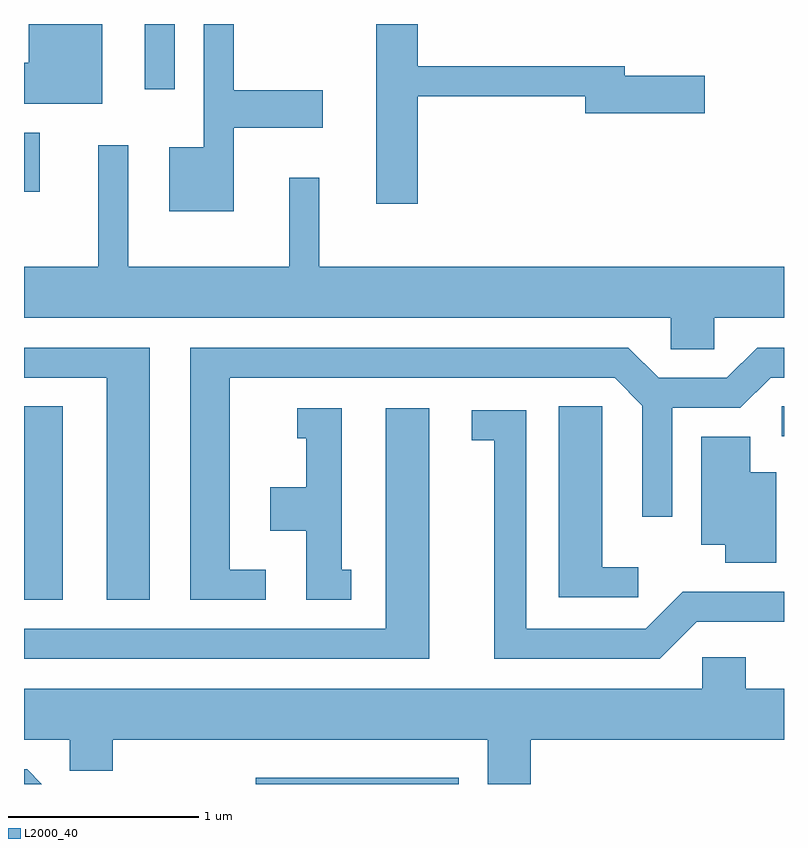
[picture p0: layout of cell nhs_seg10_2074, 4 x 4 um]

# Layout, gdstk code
import gdstk
lib = gdstk.Library(unit=1e-6, precision=1e-09)
def R(c, l, rs):  # rectangles x0, y0, x1, y1
    for r in rs: c.add(gdstk.rectangle(r[:2], r[2:], *l))
def P(c, l, *ps):  # polygons
    for p in ps: c.add(gdstk.Polygon(p, *l))
L2000_40 = (2000, 40)

nhs_seg10_2074 = lib.new_cell('nhs_seg10_2074')
R(nhs_seg10_2074, L2000_40, [(246.831,2162.522,247.899,2162.554), (245.611,2163.491,245.814,2164.509), (249.598,2164.351,249.611,2164.509), (245.611,2165.638,245.694,2165.949), (246.246,2166.178,246.404,2166.522)])
P(nhs_seg10_2074, L2000_40, [(246.714,2165.976),(247.184,2165.976),(247.184,2166.174),(246.714,2166.174),(246.714,2166.522),(246.556,2166.522),(246.556,2165.874),(246.376,2165.874),(246.376,2165.536),(246.714,2165.536)],
  [(246.024,2166.522),(245.636,2166.522),(245.636,2166.319),(245.611,2166.319),(245.611,2166.101),(246.024,2166.101)],
  [(247.684,2166.141),(248.566,2166.141),(248.566,2166.051),(249.194,2166.051),(249.194,2166.249),(248.774,2166.249),(248.774,2166.299),(247.684,2166.299),(247.684,2166.522),(247.466,2166.522),(247.466,2165.576),(247.684,2165.576)],
  [(249.244,2164.976),(249.611,2164.976),(249.611,2165.244),(247.164,2165.244),(247.164,2165.713),(247.006,2165.713),(247.006,2165.244),(246.159,2165.244),(246.159,2165.883),(246.001,2165.883),(246.001,2165.244),(245.611,2165.244),(245.611,2164.976),(249.016,2164.976),(249.016,2164.811),(249.244,2164.811)],
  [(246.883,2163.649),(246.694,2163.649),(246.694,2164.661),(248.719,2164.661),(248.866,2164.514),(248.866,2163.928),(249.024,2163.928),(249.024,2164.501),(249.382,2164.501),(249.542,2164.661),(249.611,2164.661),(249.611,2164.819),(249.469,2164.819),(249.309,2164.659),(248.952,2164.659),(248.792,2164.819),(246.486,2164.819),(246.486,2163.491),(246.883,2163.491)],
  [(246.274,2164.819),(245.611,2164.819),(245.611,2164.661),(246.046,2164.661),(246.046,2163.491),(246.274,2163.491)],
  [(248.843,2163.664),(248.654,2163.664),(248.654,2164.509),(248.426,2164.509),(248.426,2163.506),(248.843,2163.506)],
  [(247.744,2164.499),(247.516,2164.499),(247.516,2163.339),(245.611,2163.339),(245.611,2163.181),(247.744,2163.181)],
  [(247.333,2163.649),(247.284,2163.649),(247.284,2164.499),(247.048,2164.499),(247.048,2164.341),(247.096,2164.341),(247.096,2164.084),(246.906,2164.084),(246.906,2163.856),(247.096,2163.856),(247.096,2163.491),(247.333,2163.491)],
  [(249.152,2163.376),(249.611,2163.376),(249.611,2163.534),(249.079,2163.534),(248.884,2163.339),(248.254,2163.339),(248.254,2164.489),(247.968,2164.489),(247.968,2164.331),(248.086,2164.331),(248.086,2163.181),(248.957,2163.181)],
  [(249.569,2164.164),(249.434,2164.164),(249.434,2164.349),(249.176,2164.349),(249.176,2163.781),(249.301,2163.781),(249.301,2163.686),(249.569,2163.686)],
  [(248.279,2162.756),(249.611,2162.756),(249.611,2163.024),(249.409,2163.024),(249.409,2163.189),(249.181,2163.189),(249.181,2163.024),(245.611,2163.024),(245.611,2162.756),(245.851,2162.756),(245.851,2162.591),(246.079,2162.591),(246.079,2162.756),(248.051,2162.756),(248.051,2162.522),(248.279,2162.522)],
  [(245.627,2162.599),(245.611,2162.599),(245.611,2162.522),(245.704,2162.522)])

lib.write_gds('nhs_seg10_2074.gds')
